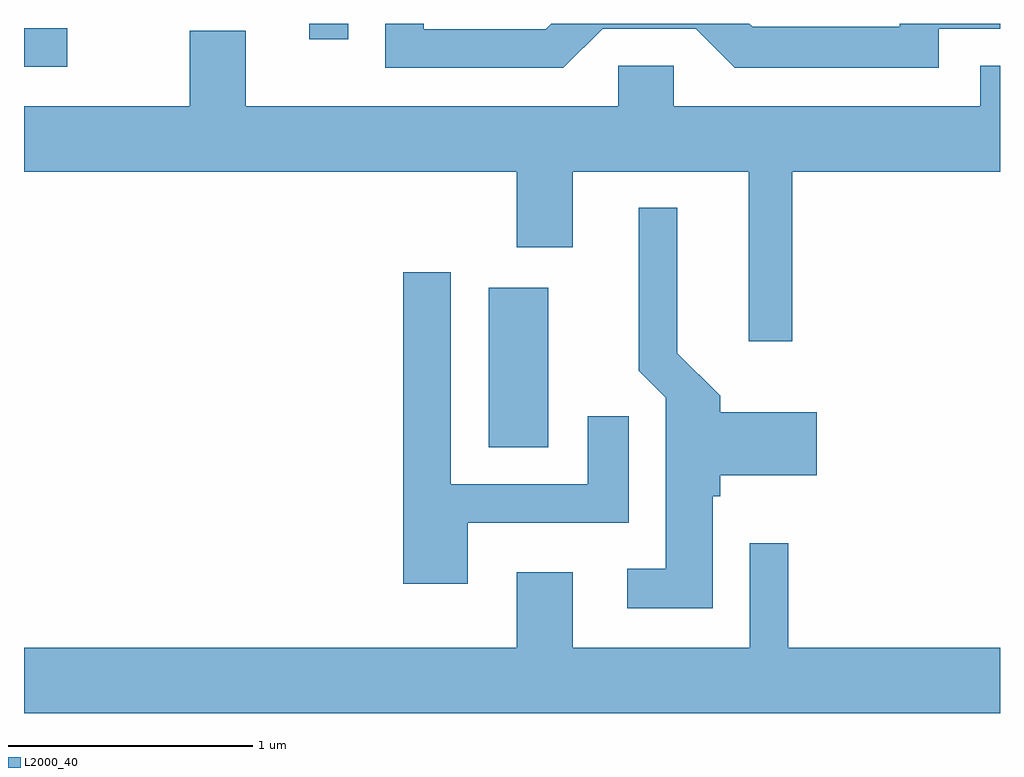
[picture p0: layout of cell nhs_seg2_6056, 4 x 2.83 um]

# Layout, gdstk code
import gdstk
lib = gdstk.Library(unit=1e-6, precision=1e-09)
def R(c, l, rs):  # rectangles x0, y0, x1, y1
    for r in rs: c.add(gdstk.rectangle(r[:2], r[2:], *l))
def P(c, l, *ps):  # polygons
    for p in ps: c.add(gdstk.Polygon(p, *l))
L2000_40 = (2000, 40)

nhs_seg2_6056 = lib.new_cell('nhs_seg2_6056')
R(nhs_seg2_6056, L2000_40, [(365.516,1056.066,365.759,1056.719), (363.611,1057.626,363.788,1057.784), (364.781,1057.738,364.939,1057.802)])
P(nhs_seg2_6056, L2000_40, [(365.982,1057.781),(366.364,1057.781),(366.524,1057.621),(367.359,1057.621),(367.359,1057.781),(367.611,1057.781),(367.611,1057.802),(367.201,1057.802),(367.201,1057.789),(366.597,1057.789),(366.584,1057.802),(365.772,1057.802),(365.749,1057.779),(365.249,1057.779),(365.249,1057.802),(365.091,1057.802),(365.091,1057.621),(365.822,1057.621)],
  [(366.759,1057.196),(367.611,1057.196),(367.611,1057.629),(367.531,1057.629),(367.531,1057.464),(366.274,1057.464),(366.274,1057.629),(366.046,1057.629),(366.046,1057.464),(364.519,1057.464),(364.519,1057.774),(364.291,1057.774),(364.291,1057.464),(363.611,1057.464),(363.611,1057.196),(365.631,1057.196),(365.631,1056.886),(365.859,1056.886),(365.859,1057.196),(366.581,1057.196),(366.581,1056.501),(366.759,1056.501)],
  [(366.434,1055.866),(366.464,1055.866),(366.464,1055.951),(366.859,1055.951),(366.859,1056.209),(366.464,1056.209),(366.464,1056.277),(366.289,1056.452),(366.289,1057.048),(366.131,1057.048),(366.131,1056.379),(366.241,1056.269),(366.241,1055.569),(366.083,1055.569),(366.083,1055.406),(366.434,1055.406)],
  [(365.429,1055.756),(366.089,1055.756),(366.089,1056.193),(365.921,1056.193),(365.921,1055.914),(365.359,1055.914),(365.359,1056.784),(365.166,1056.784),(365.166,1055.506),(365.429,1055.506)],
  [(367.611,1055.244),(366.744,1055.244),(366.744,1055.673),(366.586,1055.673),(366.586,1055.244),(365.859,1055.244),(365.859,1055.554),(365.631,1055.554),(365.631,1055.244),(363.611,1055.244),(363.611,1054.976),(367.611,1054.976)])

lib.write_gds('nhs_seg2_6056.gds')
